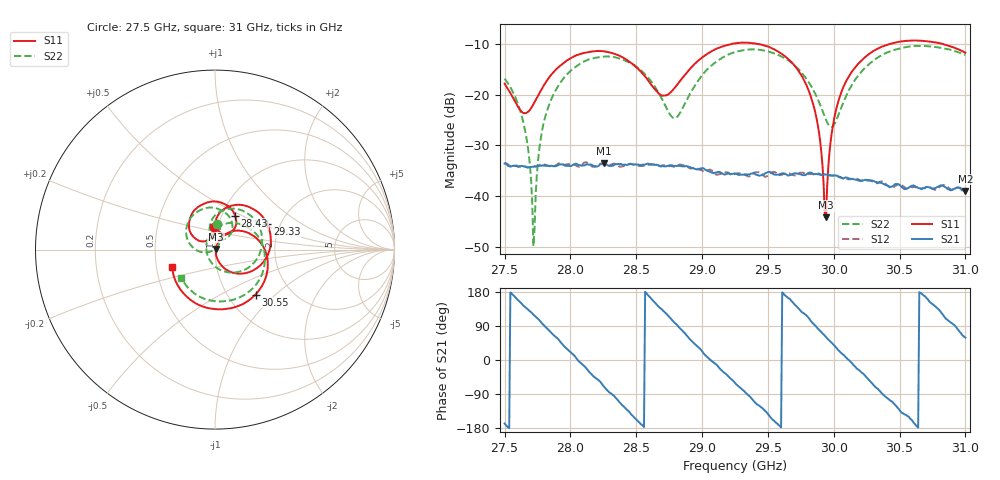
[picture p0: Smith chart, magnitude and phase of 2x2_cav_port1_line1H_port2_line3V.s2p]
!Created with skrf (http://scikit-rf.org).
# GHz S RI R 50.0
!freq ReS11 ImS11 ReS21 ImS21 ReS12 ImS12 ReS22 ImS22
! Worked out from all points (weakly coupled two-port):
!   401 points, 27.5 GHz to 31 GHz, reference 50 ohm
!   highest |S21| = -33.54 dB at 28.25 GHz (marker M1); lowest = -39.0 dB at 31 GHz (marker M2)
!   lowest |S11| = -44.1 dB at 29.94 GHz (marker M3), VSWR 1.01, Z = 50.5 + j0.305 ohm
!   |S11| at or under -10 dB: start of sweep to 29.23 GHz; 29.42 GHz to 30.43 GHz (1.016 GHz wide, 3.4 % of centre); 30.82 GHz to end of sweep
!   |S22| runs from -49.8 to -10.4 dB; largest |S21 - S12| = 0.0015
!   S11 on the Smith chart (normalised r, x): 27.5 GHz: 0.95, +0.25; 28.43 GHz: 1.16, +0.46; 29.33 GHz: 1.71, +0.54; 30.55 GHz: 1.34, -0.76; 31 GHz: 0.60, -0.13
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27.5  -0.00735 0.128  -0.0205 -0.00452  -0.0205 -0.0052  0.0102 0.1433
27.64875  -0.0324 0.0572  -0.0154 0.0122  -0.0157 0.0119  0.0271 0.0405
27.71875  -0.0665 0.0452  -0.00968 0.0169  -0.0099 0.017  0.000185 0.00323
27.77125  -0.0941 0.0518  -0.00418 0.0197  -0.00433 0.02  -0.0323 -0.0131
27.82375  -0.1196 0.0705  0.00253 0.0198  0.00309 0.02  -0.0685 -0.0154
28.08625  -0.1007 0.2325  0.0197 -0.00358  0.0201 -0.00286  -0.156 0.134
28.2525  0.0193 0.2661  0.00741 -0.0197  0.00684 -0.0194  -0.0695 0.2257
28.4275  0.1124 0.1888  -0.0132 -0.0154  -0.0128 -0.0158  0.0574 0.2047
28.6725  0.0579 0.0839  -0.0153 0.013  -0.0155 0.0127  0.0745 0.0713
28.80375  0.00666 0.1214  -0.00157 0.0198  -0.00189 0.0196  0.0103 0.0586
29.0225  0.0646 0.2341  0.0178 0.00421  0.017 0.00498  -0.0169 0.1672
29.25  0.2469 0.2022  0.00828 -0.0146  0.00861 -0.0143  0.1388 0.2223
29.32875  0.2914 0.1411  0.0012 -0.0164  0.000964 -0.0162  0.2022 0.1862
29.6525  0.1851 -0.1271  -0.0154 0.00439  -0.0161 0.0048  0.1971 -0.0926
29.83625  0.0304 -0.0813  -0.0026 0.0167  -0.00261 0.0164  0.0283 -0.1127
29.94125  0.00542 0.00301  0.00797 0.0143  0.00788 0.0145  -0.0374 -0.0424
29.99375  0.0207 0.045  0.0118 0.0107  0.0119 0.0107  -0.0482 0.00572
30.0725  0.0725 0.0932  0.0145 0.00352  0.0146 0.00356  -0.0297 0.0776
30.4225  0.2922 -0.1147  -0.00316 -0.0121  -0.00383 -0.0118  0.2631 0.0327
30.545  0.2257 -0.2504  -0.00962 -0.00687  -0.0101 -0.0066  0.2697 -0.1128
30.78125  -0.0658 -0.3181  -0.00912 0.00814  -0.00874 0.00768  0.0501 -0.2879
31  -0.2386 -0.0982  0.00582 0.00964  0.00545 0.00997  -0.1874 -0.1586
